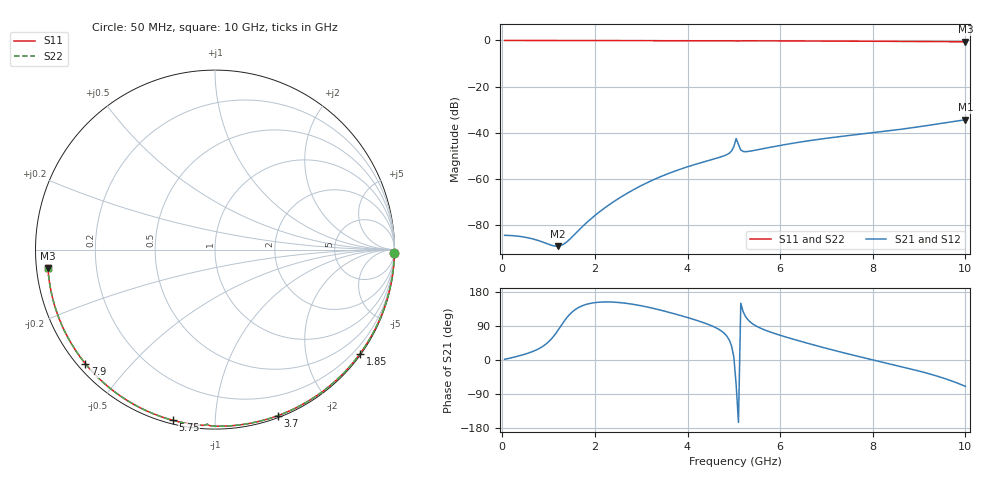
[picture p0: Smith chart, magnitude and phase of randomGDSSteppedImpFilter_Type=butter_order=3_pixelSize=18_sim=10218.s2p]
! freq	dB(S11)	phase(S11)	dB(S12)	phase(S12)
!  dB(S21)	phase(S21)	dB(S22)	phase(S22)
!S-par simulation data
#  GHz  S  DB  R 50
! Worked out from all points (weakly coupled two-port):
!   200 points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, 50 MHz to 10 GHz, reference 50 ohm
!   highest |S21| = -34.38 dB at 10 GHz (marker M1); lowest = -89.2 dB at 1.2 GHz (marker M2)
!   lowest |S11| = -0.6 dB at 10 GHz (marker M3), VSWR 30.54, Z = 1.64 - j2.72 ohm
!   |S11| at or under -10 dB: nowhere
!   |S22| runs from -0.6 to 0.0 dB; largest |S21 - S12| = 0
!   S11 on the Smith chart (normalised r, x): 50 MHz: open; 1.85 GHz: 0.03, -3.11; 3.7 GHz: 0.02, -1.45; 5.75 GHz: 0.02, -0.78; 7.9 GHz: 0.02, -0.38; 10 GHz: 0.03, -0.05
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0.05  -0.00 -1.0  -84.52 1.9  -84.52 1.9  -0.00 -1.0
0.6  -0.01 -11.7  -85.79 19.8  -85.79 19.8  -0.01 -11.7
1.2  -0.03 -23.3  -89.23 77.9  -89.23 77.9  -0.03 -23.3
1.75  -0.04 -33.7  -80.35 144.2  -80.35 144.2  -0.04 -33.7
1.85  -0.05 -35.6  -78.50 148.0  -78.50 148.0  -0.05 -35.6
2.2  -0.05 -42.1  -72.80 153.2  -72.80 153.2  -0.05 -42.1
2.55  -0.06 -48.6  -68.06 151.4  -68.06 151.4  -0.06 -48.6
2.95  -0.07 -55.9  -63.48 144.3  -63.48 144.3  -0.07 -55.9
3.4  -0.09 -64.0  -59.23 132.1  -59.23 132.1  -0.09 -64.0
3.7  -0.09 -69.3  -56.87 122.5  -56.87 122.5  -0.09 -69.3
4.85  -0.14 -89.1  -49.51 62.8  -49.51 62.8  -0.14 -89.1
4.95  -0.15 -90.9  -47.98 37.5  -47.98 37.5  -0.15 -90.9
5  -0.16 -91.8  -46.05 7.7  -46.05 7.7  -0.16 -91.8
5.05  -0.23 -92.6  -42.57 -65.4  -42.57 -65.4  -0.23 -92.6
5.15  -0.16 -93.8  -47.50 149.7  -47.50 149.7  -0.16 -93.8
5.2  -0.16 -94.7  -48.14 127.8  -48.14 127.8  -0.16 -94.7
5.75  -0.18 -103.9  -46.48 75.4  -46.48 75.4  -0.18 -103.9
6.7  -0.24 -119.3  -43.26 40.5  -43.26 40.5  -0.24 -119.3
7.9  -0.34 -138.6  -40.25 3.2  -40.25 3.2  -0.34 -138.6
8.35  -0.38 -145.9  -39.18 -9.8  -39.18 -9.8  -0.38 -145.9
9.2  -0.47 -160.0  -36.83 -35.8  -36.83 -35.8  -0.47 -160.0
10  -0.57 -173.8  -34.38 -69.6  -34.38 -69.6  -0.57 -173.8
